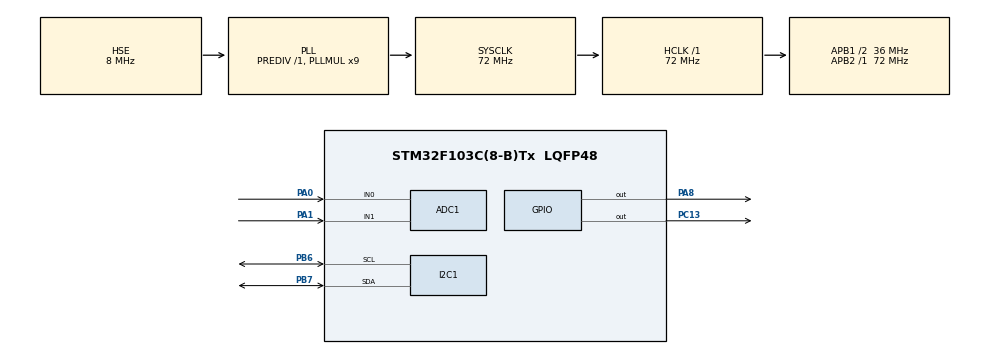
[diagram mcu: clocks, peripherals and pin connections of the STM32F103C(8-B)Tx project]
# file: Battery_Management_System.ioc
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ADC1.Channel-0\#ChannelRegularConversion=ADC_CHANNEL_0
ADC1.Channel-1\#ChannelRegularConversion=ADC_CHANNEL_1
ADC1.ContinuousConvMode=ENABLE
ADC1.EnableAnalogWatchDog=true
ADC1.NbrOfConversion=2
ADC1.NbrOfConversionFlag=1
ADC1.Rank-0\#ChannelRegularConversion=1
ADC1.Rank-1\#ChannelRegularConversion=2
ADC1.SamplingTime-0\#ChannelRegularConversion=ADC_SAMPLETIME_239CYCLES_5
ADC1.SamplingTime-1\#ChannelRegularConversion=ADC_SAMPLETIME_239CYCLES_5
ADC1.master=1
Dma.ADC1.0.Direction=DMA_PERIPH_TO_MEMORY
Dma.ADC1.0.Instance=DMA1_Channel1
Dma.ADC1.0.MemDataAlignment=DMA_MDATAALIGN_HALFWORD
Dma.ADC1.0.MemInc=DMA_MINC_ENABLE
Dma.ADC1.0.Mode=DMA_CIRCULAR
Dma.ADC1.0.PeriphDataAlignment=DMA_PDATAALIGN_HALFWORD
Dma.ADC1.0.PeriphInc=DMA_PINC_DISABLE
Dma.ADC1.0.Priority=DMA_PRIORITY_HIGH
Dma.Request0=ADC1
Mcu.Family=STM32F1
Mcu.Name=STM32F103C(8-B)Tx
Mcu.Package=LQFP48
NVIC.ADC1_2_IRQn=true\:1\:0\:true\:false\:true\:true\:true\:true
NVIC.DMA1_Channel1_IRQn=true\:2\:0\:true\:false\:true\:false\:true\:true
NVIC.PriorityGroup=NVIC_PRIORITYGROUP_4
PA0-WKUP.Signal=ADCx_IN0
PA1.Signal=ADCx_IN1
PA13.Mode=Serial_Wire
PA13.Signal=SYS_JTMS-SWDIO
PA14.Mode=Serial_Wire
PA14.Signal=SYS_JTCK-SWCLK
PA8.GPIO_PuPd=GPIO_PULLDOWN
PA8.Signal=GPIO_Output
PB6.Mode=I2C
PB6.Signal=I2C1_SCL
PB7.Mode=I2C
PB7.Signal=I2C1_SDA
PC13-TAMPER-RTC.Signal=GPIO_Output
PD0-OSC_IN.Mode=HSE-External-Oscillator
PD0-OSC_IN.Signal=RCC_OSC_IN
PD1-OSC_OUT.Mode=HSE-External-Oscillator
PD1-OSC_OUT.Signal=RCC_OSC_OUT
ProjectManager.HeapSize=0x200
ProjectManager.StackSize=0x400
ProjectManager.TargetToolchain=MDK-ARM V5.32
RCC.ADCPresc=RCC_ADCPCLK2_DIV6
RCC.AHBFreq_Value=72000000
RCC.APB1CLKDivider=RCC_HCLK_DIV2
RCC.APB1Freq_Value=36000000
RCC.APB1TimFreq_Value=72000000
RCC.APB2Freq_Value=72000000
RCC.APB2TimFreq_Value=72000000
RCC.HCLKFreq_Value=72000000
RCC.PLLMUL=RCC_PLL_MUL9
RCC.PLLSourceVirtual=RCC_PLLSOURCE_HSE
RCC.SYSCLKFreq_VALUE=72000000
RCC.SYSCLKSource=RCC_SYSCLKSOURCE_PLLCLK
RCC.USBFreq_Value=72000000
SH.ADCx_IN0.0=ADC1_IN0,IN0
SH.ADCx_IN1.0=ADC1_IN1,IN1
TIM1.AutoReloadPreload=TIM_AUTORELOAD_PRELOAD_DISABLE
TIM1.Channel-PWM\ Generation1\ No\ Output=TIM_CHANNEL_1
TIM1.Period=999
TIM1.Prescaler=71
VP_TIM1_VS_no_output1.Mode=PWM Generation1 No Output
board=custom

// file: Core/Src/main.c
/* USER CODE BEGIN Header */
/**
  ******************************************************************************
  * @file           : main.c
  * @brief          : Main program body
  ******************************************************************************
  * @attention
  *
  * Copyright (c) 2026 STMicroelectronics.
  * All rights reserved.
  *
  * This software is licensed under terms that can be found in the LICENSE file
  * in the root directory of this software component.
  * If no LICENSE file comes with this software, it is provided AS-IS.
  *
  ******************************************************************************
  */
/* USER CODE END Header */
#include "main.h"
#include "adc.h"
#include "dma.h"
#include "i2c.h"
#include "tim.h"
#include "gpio.h"

/* USER CODE BEGIN Includes */
#include "stdint.h"
#include "oled.h"
/* USER CODE END Includes */

/* USER CODE BEGIN PV */
#define BATTERY_CAPACITY_AH 2.20f
#define BATTERY_INITIAL_SOC_PERCENT 100.0f

uint16_t adc_buffer[2];
float vpin;
float vbat;
float Ibat;
float op_amp_gain = 50;
float shunt_resistance = 0.15;
float Power;
float Accumulated_Energy;
float Charge_Ah = BATTERY_CAPACITY_AH * (1.0f - (BATTERY_INITIAL_SOC_PERCENT / 100.0f));
float SoC = BATTERY_INITIAL_SOC_PERCENT;
uint32_t last_update_ms;
/* USER CODE END PV */

void SystemClock_Config(void);

int main(void)
{

  /* MCU Configuration--------------------------------------------------------*/

  /* Reset of all peripherals, Initializes the Flash interface and the Systick. */
  HAL_Init();

  /* Configure the system clock */
  SystemClock_Config();

  /* Initialize all configured peripherals */
  MX_GPIO_Init();
  MX_DMA_Init();
  MX_ADC1_Init();
  MX_TIM1_Init();
  MX_I2C1_Init();
  /* USER CODE BEGIN 2 */
  HAL_ADC_Start_DMA(&hadc1,(uint32_t *)adc_buffer,2);
	HAL_GPIO_WritePin(GPIOA,GPIO_PIN_8,GPIO_PIN_SET);//START PROVIDING CURRENT TO THE MOSFET.
  OLED_Init();
  last_update_ms = HAL_GetTick();
  /* USER CODE END 2 */

  /* Infinite loop */
  /* USER CODE BEGIN WHILE */
  while (1)
  {
		//current
		vpin = ((float)adc_buffer[1] / 4095.0f) * 3.3f;//--->calculate the voltage value recieved through adc pin
		Ibat = vpin/(op_amp_gain * shunt_resistance);//--->calculate the current through this formula

		//fail safe
		if(Ibat > 0.6f){//600mA
			HAL_GPIO_WritePin(GPIOA,GPIO_PIN_8,GPIO_PIN_RESET);//RESET TO LOW IF THE CURRENT IS HIGH
		}

    uint32_t now_ms = HAL_GetTick();
    float delta_s = (now_ms - last_update_ms) / 1000.0f;
    last_update_ms = now_ms;

		//Voltage
		vpin = ((float)adc_buffer[0] / 4095.0f) * 3.3f;//--->calculate the voltage value recieved through adc pin
		vbat = vpin * 3;  //--> vbat = vpin * (r1+r2/r2)

		//Power
		Power = vbat * Ibat;//---->POWER

    //Energy / capacity accumulation
    if (delta_s > 0.0f)
    {
      Accumulated_Energy += Power * (delta_s / 3600.0f);
      Charge_Ah += Ibat * (delta_s / 3600.0f);
    }

    if (Charge_Ah < 0.0f)
    {
      Charge_Ah = 0.0f;
    }

    SoC = 100.0f * (1.0f - (Charge_Ah / BATTERY_CAPACITY_AH));
    if (SoC < 0.0f)
    {
      SoC = 0.0f;
    }
    else if (SoC > 100.0f)
    {
      SoC = 100.0f;
    }

    uint8_t fail_safe_active = (Ibat > 0.6f) ? 1u : 0u;
    OLED_ShowMetrics(vbat, Ibat, Power, Accumulated_Energy, Charge_Ah, SoC, fail_safe_active);
    HAL_Delay(200);

    /* USER CODE END WHILE */

  }
}

void SystemClock_Config(void)
{
  RCC_OscInitTypeDef RCC_OscInitStruct = {0};
  RCC_ClkInitTypeDef RCC_ClkInitStruct = {0};
  RCC_PeriphCLKInitTypeDef PeriphClkInit = {0};

  /** Initializes the RCC Oscillators according to the specified parameters
  * in the RCC_OscInitTypeDef structure.
  */
  RCC_OscInitStruct.OscillatorType = RCC_OSCILLATORTYPE_HSE;
  RCC_OscInitStruct.HSEState = RCC_HSE_ON;
  RCC_OscInitStruct.HSEPredivValue = RCC_HSE_PREDIV_DIV1;
  RCC_OscInitStruct.HSIState = RCC_HSI_ON;
  RCC_OscInitStruct.PLL.PLLState = RCC_PLL_ON;
  RCC_OscInitStruct.PLL.PLLSource = RCC_PLLSOURCE_HSE;
  RCC_OscInitStruct.PLL.PLLMUL = RCC_PLL_MUL9;
  if (HAL_RCC_OscConfig(&RCC_OscInitStruct) != HAL_OK)
  {
    Error_Handler();
  }

  /** Initializes the CPU, AHB and APB buses clocks
  */
  RCC_ClkInitStruct.ClockType = RCC_CLOCKTYPE_HCLK|RCC_CLOCKTYPE_SYSCLK
                              |RCC_CLOCKTYPE_PCLK1|RCC_CLOCKTYPE_PCLK2;
  RCC_ClkInitStruct.SYSCLKSource = RCC_SYSCLKSOURCE_PLLCLK;
  RCC_ClkInitStruct.AHBCLKDivider = RCC_SYSCLK_DIV1;
  RCC_ClkInitStruct.APB1CLKDivider = RCC_HCLK_DIV2;
  RCC_ClkInitStruct.APB2CLKDivider = RCC_HCLK_DIV1;

  if (HAL_RCC_ClockConfig(&RCC_ClkInitStruct, FLASH_LATENCY_2) != HAL_OK)
  {
    Error_Handler();
  }
  PeriphClkInit.PeriphClockSelection = RCC_PERIPHCLK_ADC;
  PeriphClkInit.AdcClockSelection = RCC_ADCPCLK2_DIV6;
  if (HAL_RCCEx_PeriphCLKConfig(&PeriphClkInit) != HAL_OK)
  {
    Error_Handler();
  }
}

void Error_Handler(void)
{
  __disable_irq();
  while (1)
  {
  }
}
